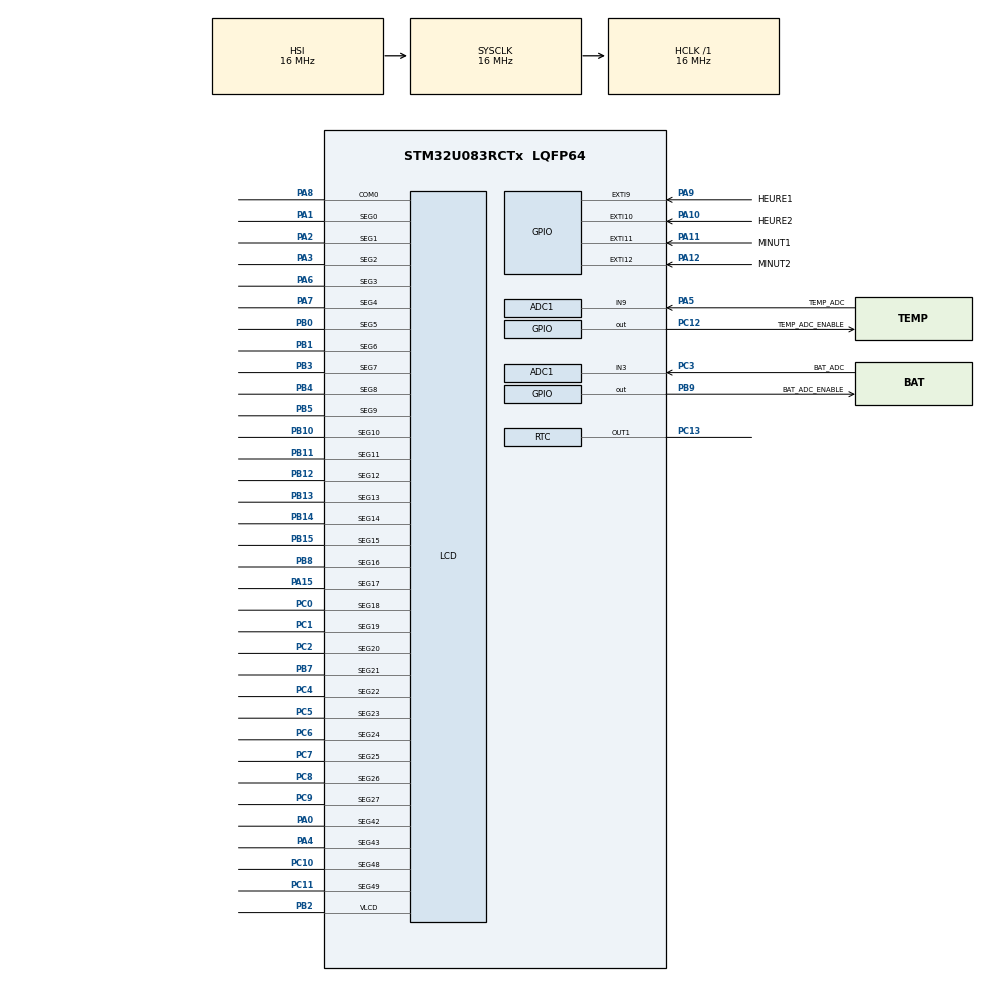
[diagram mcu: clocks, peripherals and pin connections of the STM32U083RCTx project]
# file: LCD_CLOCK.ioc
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ADC1.Channel-0\#ChannelRegularConversion=ADC_CHANNEL_9
ADC1.Channel-1\#ChannelRegularConversion=ADC_CHANNEL_3
ADC1.ClockPrescaler=ADC_CLOCK_SYNC_PCLK_DIV4
ADC1.ContinuousConvMode=DISABLE
ADC1.DiscontinuousConvMode=DISABLE
ADC1.EOCSelection=ADC_EOC_SINGLE_CONV
ADC1.NbrOfConversion=2
ADC1.NbrOfConversionFlag=1
ADC1.Rank-0\#ChannelRegularConversion=1
ADC1.Rank-1\#ChannelRegularConversion=2
ADC1.RankArg-0\#ChannelRegularConversion=ADC_REGULAR_RANK_1
ADC1.RankArg-1\#ChannelRegularConversion=ADC_REGULAR_RANK_2
ADC1.SamplingTime-0\#ChannelRegularConversion=ADC_SAMPLINGTIME_COMMON_1
ADC1.SamplingTime-1\#ChannelRegularConversion=ADC_SAMPLINGTIME_COMMON_1
ADC1.SamplingTimeCommon1=ADC_SAMPLETIME_160CYCLES_5
ADC1.SamplingTimeCommon2=ADC_SAMPLETIME_12CYCLES_5
ADC1.SelectedChannel=ADC_CHANNEL_3|ADC_CHANNEL_9
ADC1.master=1
Dma.ADC1.0.Direction=DMA_PERIPH_TO_MEMORY
Dma.ADC1.0.EventEnable=DISABLE
Dma.ADC1.0.Instance=DMA1_Channel1
Dma.ADC1.0.MemDataAlignment=DMA_MDATAALIGN_HALFWORD
Dma.ADC1.0.MemInc=DMA_MINC_ENABLE
Dma.ADC1.0.Mode=DMA_NORMAL
Dma.ADC1.0.PeriphDataAlignment=DMA_PDATAALIGN_HALFWORD
Dma.ADC1.0.PeriphInc=DMA_PINC_DISABLE
Dma.ADC1.0.Polarity=HAL_DMAMUX_REQ_GEN_RISING
Dma.ADC1.0.Priority=DMA_PRIORITY_LOW
Dma.ADC1.0.RequestNumber=1
Dma.ADC1.0.SignalID=NONE
Dma.ADC1.0.SyncEnable=DISABLE
Dma.ADC1.0.SyncPolarity=HAL_DMAMUX_SYNC_NO_EVENT
Dma.ADC1.0.SyncRequestNumber=1
Dma.ADC1.0.SyncSignalID=NONE
Dma.Request0=ADC1
LCD.Bias=LCD_BIAS_1_2
LCD.Contrast=LCD_CONTRASTLEVEL_3
LPTIM1.ClockPrescaler=LPTIM_PRESCALER_DIV128
LPTIM1.Period=15300
LPTIM1.RepetitionCounter=0
LPTIM1.UpdateMode=LPTIM_UPDATE_ENDOFPERIOD
LPTIM2.ClockPrescaler=LPTIM_PRESCALER_DIV128
LPTIM2.Period=65535
LPTIM2.RepetitionCounter=215
LPTIM2.UpdateMode=LPTIM_UPDATE_ENDOFPERIOD
Mcu.Family=STM32U0
Mcu.Name=STM32U083RCTx
Mcu.Package=LQFP64
NVIC.ADC_COMP1_2_IRQn=true\:0\:0\:false\:false\:true\:true\:true\:true
NVIC.DMA1_Channel1_IRQn=true\:0\:0\:false\:false\:true\:false\:true\:true
NVIC.EXTI4_15_IRQn=true\:0\:0\:false\:false\:true\:true\:true\:true
NVIC.PriorityGroup=NVIC_PRIORITYGROUP_2
NVIC.RTC_TAMP_IRQn=true\:2\:0\:true\:false\:true\:true\:true\:true
NVIC.TIM6_DAC_LPTIM1_IRQn=true\:1\:0\:true\:false\:true\:true\:true\:true
NVIC.TIM7_LPTIM2_IRQn=true\:1\:0\:true\:false\:true\:true\:true\:true
PA0.Mode=SEG42
PA0.Signal=LCD_SEG42
PA1.Mode=SEG0
PA1.Signal=LCD_SEG0
PA10.GPIO_Label=HEURE2
PA10.GPIO_ModeDefaultEXTI=GPIO_MODE_IT_FALLING
PA10.GPIO_PuPd=GPIO_PULLUP
PA10.Signal=GPXTI10
PA11\ [PA9].GPIO_Label=MINUT1
PA11\ [PA9].GPIO_ModeDefaultEXTI=GPIO_MODE_IT_FALLING
PA11\ [PA9].GPIO_PuPd=GPIO_PULLUP
PA11\ [PA9].Signal=GPXTI11
PA12\ [PA10].GPIO_Label=MINUT2
PA12\ [PA10].GPIO_ModeDefaultEXTI=GPIO_MODE_IT_FALLING
PA12\ [PA10].GPIO_PuPd=GPIO_PULLUP
PA12\ [PA10].Signal=GPXTI12
PA15.Mode=SEG17
PA15.Signal=LCD_SEG17
PA2.Mode=SEG1
PA2.Signal=LCD_SEG1
PA3.Mode=SEG2
PA3.Signal=LCD_SEG2
PA4.Mode=SEG43
PA4.Signal=LCD_SEG43
PA5.GPIO_Label=TEMP_ADC
PA5.Mode=IN9
PA5.Signal=ADC1_IN9
PA6.Mode=SEG3
PA6.Signal=LCD_SEG3
PA7.Mode=SEG4
PA7.Signal=LCD_SEG4
PA8.Mode=Static
PA8.Signal=LCD_COM0
PA9.GPIO_Label=HEURE1
PA9.GPIO_ModeDefaultEXTI=GPIO_MODE_IT_FALLING
PA9.GPIO_PuPd=GPIO_PULLUP
PA9.Signal=GPXTI9
PB0.Mode=SEG5
PB0.Signal=LCD_SEG5
PB1.Mode=SEG6
PB1.Signal=LCD_SEG6
PB10.Mode=SEG10
PB10.Signal=LCD_SEG10
PB11.Mode=SEG11
PB11.Signal=LCD_SEG11
PB12.Mode=SEG12
PB12.Signal=LCD_SEG12
PB13.Mode=SEG13
PB13.Signal=LCD_SEG13
PB14.Mode=SEG14
PB14.Signal=LCD_SEG14
PB15.Mode=SEG15
PB15.Signal=LCD_SEG15
PB2.Mode=Static
PB2.Signal=LCD_VLCD
PB3.Mode=SEG7
PB3.Signal=LCD_SEG7
PB4.Mode=SEG8
PB4.Signal=LCD_SEG8
PB5.Mode=SEG9
PB5.Signal=LCD_SEG9
PB7.Mode=SEG21
PB7.Signal=LCD_SEG21
PB8.Mode=SEG16
PB8.Signal=LCD_SEG16
PB9.GPIO_Label=BAT_ADC_ENABLE
PB9.Signal=GPIO_Output
PC0.Mode=SEG18
PC0.Signal=LCD_SEG18
PC1.Mode=SEG19
PC1.Signal=LCD_SEG19
PC10.Mode=SEG48
PC10.Signal=LCD_SEG48
PC11.Mode=SEG49
PC11.Signal=LCD_SEG49
PC12.GPIO_Label=TEMP_ADC_ENABLE
PC12.Signal=GPIO_Output
PC13.Mode=Calibration_1Hz
PC13.Signal=RTC_OUT1
PC14-OSC32_IN.Mode=LSE-External-Oscillator
PC14-OSC32_IN.Signal=RCC_OSC32_IN
PC15-OSC32_OUT.Mode=LSE-External-Oscillator
PC15-OSC32_OUT.Signal=RCC_OSC32_OUT
PC2.Mode=SEG20
PC2.Signal=LCD_SEG20
PC3.GPIO_Label=BAT_ADC
PC3.Mode=IN3
PC3.Signal=ADC1_IN3
PC4.Mode=SEG22
PC4.Signal=LCD_SEG22
PC5.Mode=SEG23
PC5.Signal=LCD_SEG23
PC6.Mode=SEG24
PC6.Signal=LCD_SEG24
PC7.Mode=SEG25
PC7.Signal=LCD_SEG25
PC8.Mode=SEG26
PC8.Signal=LCD_SEG26
PC9.Mode=SEG27
PC9.Signal=LCD_SEG27
ProjectManager.HeapSize=0x200
ProjectManager.StackSize=0x400
ProjectManager.TargetToolchain=STM32CubeIDE
RCC.AHBFreq_Value=16000000
RCC.CortexFreq_Value=16000000
RCC.EnableCSSLSE=true
RCC.HCLKFreq_Value=16000000
RCC.HSE_VALUE=4000000
RCC.HSI48_VALUE=48000000
RCC.HSI_VALUE=16000000
RCC.LPTIM1CLockSelection=RCC_LPTIM1CLKSOURCE_LSE
RCC.LPTIM2CLockSelection=RCC_LPTIM2CLKSOURCE_LSE
RCC.MSI_VALUE=4000000
RCC.RTCClockSelection=RCC_RTCCLKSOURCE_LSE
RCC.SYSCLKFreq_VALUE=16000000
RCC.VCOOutputFreq_Value=64000000
RTC.BinMode=RTC_BINARY_NONE
RTC.WakeUpClock-WakeUp=RTC_WAKEUPCLOCK_CK_SPRE_16BITS
VP_LPTIM1_VS_LPTIM_counterModeInternalClock.Mode=Counts__internal_clock_event_00
VP_LPTIM2_VS_LPTIM_counterModeInternalClock.Mode=Counts__internal_clock_event_00
VP_PWR_VS_SECSignals.Mode=Security/Privilege
VP_RTC_VS_RTC_Activate.Mode=RTC_Enabled
VP_RTC_VS_RTC_WakeUp_intern.Mode=WakeUp
board=custom

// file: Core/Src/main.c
/* USER CODE BEGIN Header */
/**
  ******************************************************************************
  * @file           : main.c
  * @brief          : Main program body
  ******************************************************************************
  * @attention
  *
  * Copyright (c) 2026 STMicroelectronics.
  * All rights reserved.
  *
  * This software is licensed under terms that can be found in the LICENSE file
  * in the root directory of this software component.
  * If no LICENSE file comes with this software, it is provided AS-IS.
  *
  ******************************************************************************
  */
/* USER CODE END Header */
#include "main.h"

/* USER CODE BEGIN Includes */
#include "math.h"
#include "LCD_4DIGIT.h"
#include <stdio.h>
/* USER CODE END Includes */

/* USER CODE BEGIN PD */

//variable for TT7-10KC3-11 thermistor
#define R0_NTC 10000.0f
#define T0_NTC 298.15f
#define BETA_NTC 3977.0f
#define R_SERIE 9990.0f
/* USER CODE END PD */

ADC_HandleTypeDef hadc1;
DMA_HandleTypeDef hdma_adc1;

LCD_HandleTypeDef hlcd;

LPTIM_HandleTypeDef hlptim1;
LPTIM_HandleTypeDef hlptim2;

RTC_HandleTypeDef hrtc;

/* USER CODE BEGIN PV */
volatile Flag system_flag = {0};
State system_state = START;
uint16_t temp_value;
uint16_t bat_value;
uint8_t sleep_time = 0;
volatile uint8_t StopMode_Activated = 0;
uint32_t start;

volatile uint16_t adc_dma_buffer[2];

RTC_TimeTypeDef Time = {0};
RTC_DateTypeDef Date = {0};
/* USER CODE END PV */

void SystemClock_Config(void);
static void MX_GPIO_Init(void);
static void MX_DMA_Init(void);
static void MX_ADC1_Init(void);
static void MX_LCD_Init(void);
static void MX_RTC_Init(void);
static void MX_LPTIM1_Init(void);
static void MX_LPTIM2_Init(void);

/* USER CODE BEGIN 0 */
void mini_sprintf(int n, char *s, uint8_t width, char pad)
{

	s[width-1] = '\0';

    for (int8_t i = width - 2; i >= 0; i--) {
        // 2. Fill digits using the absolute value
        if (n > 0 || (i == width - 2 && n == 0)) {
            s[i] = (n % 10) + '0';
            n /= 10;
        }
        // 4. Fill remaining space with padding
        else {
            s[i] = pad;
        }
    }
}

State switch_state(Flag sys_flag)
{
	State state = START;

	if(sys_flag.need_calibration > 400) state = CALIBRATION;
	else if(sys_flag.adc_update)  state = ADC_MEASUREMENT;
	else if(sys_flag.adc_ready)  state = ADC_READ;
	else if(sys_flag.wait_adc) state = WAIT_FOR_ADC;
	else if(sys_flag.bat_update)  state = PRINT_BAT;
	else if(sys_flag.time_update) state = PRINT_TIME;
	else if(sys_flag.temp_update) state = PRINT_TEMP;
	else state = SLEEP_MODE;

	return state;
}

uint8_t Read_ADC(uint16_t *temp_val, uint16_t *bat_val)
{
	float temp_celsius = 0;
	int ADC_temp_value = 0;
	float R_ADC = 0;

	int ADC_bat_value = 0;

	HAL_GPIO_WritePin(BAT_ADC_ENABLE_GPIO_Port, BAT_ADC_ENABLE_Pin, RESET);
	HAL_GPIO_WritePin(TEMP_ADC_ENABLE_GPIO_Port, TEMP_ADC_ENABLE_Pin, RESET);

	ADC_temp_value = adc_dma_buffer[0];
	ADC_bat_value = adc_dma_buffer[1];

	if(ADC_temp_value < 1058) //temp < 0°C
	{
		*temp_val = 0;
	}
	else
	{
		R_ADC = R_SERIE*((4095.0f/(float)ADC_temp_value) - 1.0f);

		float steinhart = logf(R_ADC / R0_NTC) / BETA_NTC;
		steinhart += 1.0f / T0_NTC;
		temp_celsius = (1.0f / steinhart) - 273.15f;
		*temp_val = (uint16_t)(temp_celsius * 10.0f);
	}

	*bat_val = (uint16_t)(660.0*(float)ADC_bat_value/4096.0);

	return 0;
}

uint8_t Print_temp(uint16_t temp_val)
{
	char temp_txt[5] = "   *";

	mini_sprintf(temp_val, temp_txt, sizeof(temp_txt), ' ');

	for (uint8_t i = 0; i < 3; i++) {
		temp_txt[i] = temp_txt[i + 1];
	}

	temp_txt[3] = '*';
	LCD_WriteDigit(temp_txt,0b0010);

	return 0;
}

uint8_t Print_time(uint8_t hour, uint8_t minute)
{
	char time_txt[5] = "0000";
	char minute_txt[3] = "00";

	mini_sprintf(minute, minute_txt, sizeof(minute_txt), '0');
	mini_sprintf(hour, time_txt, sizeof(time_txt), '0');

	for (uint8_t i = 0; i < 2; i++) {
		time_txt[i] = time_txt[i + 2];
	}

	time_txt[2] = minute_txt[0];
	time_txt[3] = minute_txt[1];

	LCD_WriteDigit(time_txt,0b1000);

	return 0;
}

/* USER CODE END 0 */

int main(void)
{

  /* MCU Configuration--------------------------------------------------------*/

  /* Reset of all peripherals, Initializes the Flash interface and the Systick. */
  HAL_Init();

  /* Configure the system clock */
  SystemClock_Config();

  /* Initialize all configured peripherals */
  MX_GPIO_Init();
  MX_DMA_Init();
  MX_ADC1_Init();
  MX_LCD_Init();
  MX_RTC_Init();
  MX_LPTIM1_Init();
  MX_LPTIM2_Init();
  /* USER CODE BEGIN 2 */

  HAL_LCD_Clear(&hlcd);

  Time.Hours = 0;
  Time.Minutes = 0;
  Time.Seconds = 0;
  HAL_RTC_SetTime(&hrtc, &Time, RTC_FORMAT_BIN);

  system_flag.adc_update = 1;
  system_flag.need_calibration = 401;
  system_flag.time_update = 1;
//  HAL_RCCEx_PeriphCLKConfig();

  HAL_LPTIM_Counter_Start_IT(&hlptim1);
  HAL_LPTIM_Counter_Start_IT(&hlptim2);

  /* USER CODE END 2 */

  /* Infinite loop */
  /* USER CODE BEGIN WHILE */
  while (1)
  {
	  switch (system_state)
	  {
	  case START:

		  system_state = switch_state(system_flag);
		  break;

	  case CALIBRATION:

		  HAL_ADCEx_Calibration_Start(&hadc1);
		  system_flag.need_calibration = 0;

		  system_state = switch_state(system_flag);
		  break;

	  case ADC_READ:

		  Read_ADC(&temp_value, &bat_value);

		  system_flag.adc_ready = 0;
		  system_flag.wait_adc = 0;

		  if(bat_value < 340)
		  {
			  system_flag.low_battery = 1;
		  }

		  system_state = switch_state(system_flag);
		  break;

	  case ADC_MEASUREMENT:

		  HAL_GPIO_WritePin(TEMP_ADC_ENABLE_GPIO_Port, TEMP_ADC_ENABLE_Pin, SET);
		  HAL_GPIO_WritePin(BAT_ADC_ENABLE_GPIO_Port, BAT_ADC_ENABLE_Pin, SET);

		  start = HAL_GetTick();

		  while ((HAL_GetTick() - start) < 10);

		  HAL_ADC_Start_DMA(&hadc1, (uint32_t*)adc_dma_buffer, 2);

		  system_flag.adc_update = 0;
		  system_flag.wait_adc = 1;

		  system_state = switch_state(system_flag);
		  break;

	  case WAIT_FOR_ADC:

		  system_flag.wait_adc = 1;

		  system_state = switch_state(system_flag);
		  break;

	  case PRINT_TIME:

		  system_flag.time_update = 0;

		  Print_time(Time.Hours, Time.Minutes);

		  sleep_time = 5;

		  system_state = switch_state(system_flag);
		  break;

	  case PRINT_TEMP:

		  system_flag.temp_update = 0;

		  Print_temp(temp_value);

		  sleep_time = 3;

		  system_state = switch_state(system_flag);
		  break;

	  case PRINT_BAT:

		  system_flag.bat_update = 0;

		  LCD_WriteDigit("batt", 0);

		  if(bat_value > 344)
		  {
			  system_flag.low_battery = 0;
		  }

		  sleep_time = 20;

		  system_state = switch_state(system_flag);
		  break;

	  case SLEEP_MODE:

		  if(sleep_time > 1)
		  {
			  HAL_RTCEx_SetWakeUpTimer_IT(&hrtc, sleep_time-1, RTC_WAKEUPCLOCK_CK_SPRE_16BITS, 0);
			  StopMode_Activated = 1;
			  HAL_SuspendTick();
			  HAL_PWREx_EnterSTOP2Mode(PWR_SLEEPENTRY_WFI);

			  HAL_RTCEx_DeactivateWakeUpTimer(&hrtc);
		  }

		  HAL_RTC_GetTime(&hrtc, &Time, RTC_FORMAT_BIN);
		  HAL_RTC_GetDate(&hrtc, &Date, RTC_FORMAT_BIN);

		  if(system_flag.low_battery) system_flag.bat_update = 1;
		  else if(sleep_time == 5) system_flag.temp_update = 1;
		  else if(sleep_time == 3) system_flag.time_update = 1;

		  system_state = switch_state(system_flag);
		  break;

	  default:
		  system_state = START;
		  break;
	  }
    /* USER CODE END WHILE */

  }
}

void SystemClock_Config(void)
{
  RCC_OscInitTypeDef RCC_OscInitStruct = {0};
  RCC_ClkInitTypeDef RCC_ClkInitStruct = {0};

  /** Configure the main internal regulator output voltage
  */
  HAL_PWREx_ControlVoltageScaling(PWR_REGULATOR_VOLTAGE_SCALE2);

  /** Configure LSE Drive Capability
  */
  HAL_PWR_EnableBkUpAccess();
  __HAL_RCC_LSEDRIVE_CONFIG(RCC_LSEDRIVE_LOW);

  /** Initializes the RCC Oscillators according to the specified parameters
  * in the RCC_OscInitTypeDef structure.
  */
  RCC_OscInitStruct.OscillatorType = RCC_OSCILLATORTYPE_HSI|RCC_OSCILLATORTYPE_LSE;
  RCC_OscInitStruct.LSEState = RCC_LSE_ON;
  RCC_OscInitStruct.HSIState = RCC_HSI_ON;
  RCC_OscInitStruct.HSICalibrationValue = RCC_HSICALIBRATION_DEFAULT;
  RCC_OscInitStruct.PLL.PLLState = RCC_PLL_NONE;
  if (HAL_RCC_OscConfig(&RCC_OscInitStruct) != HAL_OK)
  {
    Error_Handler();
  }

  /** Initializes the CPU, AHB and APB buses clocks
  */
  RCC_ClkInitStruct.ClockType = RCC_CLOCKTYPE_HCLK|RCC_CLOCKTYPE_SYSCLK
                              |RCC_CLOCKTYPE_PCLK1;
  RCC_ClkInitStruct.SYSCLKSource = RCC_SYSCLKSOURCE_HSI;
  RCC_ClkInitStruct.AHBCLKDivider = RCC_SYSCLK_DIV1;
  RCC_ClkInitStruct.APB1CLKDivider = RCC_HCLK_DIV1;

  if (HAL_RCC_ClockConfig(&RCC_ClkInitStruct, FLASH_LATENCY_1) != HAL_OK)
  {
    Error_Handler();
  }
}

static void MX_ADC1_Init(void)
{

  ADC_ChannelConfTypeDef sConfig = {0};

  /** Configure the global features of the ADC (Clock, Resolution, Data Alignment and number of conversion)
  */
  hadc1.Instance = ADC1;
  hadc1.Init.ClockPrescaler = ADC_CLOCK_SYNC_PCLK_DIV4;
  hadc1.Init.Resolution = ADC_RESOLUTION_12B;
  hadc1.Init.DataAlign = ADC_DATAALIGN_RIGHT;
  hadc1.Init.ScanConvMode = ADC_SCAN_ENABLE;
  hadc1.Init.EOCSelection = ADC_EOC_SINGLE_CONV;
  hadc1.Init.LowPowerAutoWait = DISABLE;
  hadc1.Init.LowPowerAutoPowerOff = DISABLE;
  hadc1.Init.ContinuousConvMode = DISABLE;
  hadc1.Init.NbrOfConversion = 2;
  hadc1.Init.DiscontinuousConvMode = DISABLE;
  hadc1.Init.ExternalTrigConv = ADC_SOFTWARE_START;
  hadc1.Init.ExternalTrigConvEdge = ADC_EXTERNALTRIGCONVEDGE_NONE;
  hadc1.Init.DMAContinuousRequests = DISABLE;
  hadc1.Init.Overrun = ADC_OVR_DATA_PRESERVED;
  hadc1.Init.SamplingTimeCommon1 = ADC_SAMPLETIME_160CYCLES_5;
  hadc1.Init.SamplingTimeCommon2 = ADC_SAMPLETIME_12CYCLES_5;
  hadc1.Init.OversamplingMode = DISABLE;
  hadc1.Init.TriggerFrequencyMode = ADC_TRIGGER_FREQ_HIGH;
  if (HAL_ADC_Init(&hadc1) != HAL_OK)
  {
    Error_Handler();
  }

  /** Configure Regular Channel
  */
  sConfig.Channel = ADC_CHANNEL_9;
  sConfig.Rank = ADC_REGULAR_RANK_1;
  sConfig.SamplingTime = ADC_SAMPLINGTIME_COMMON_1;
  if (HAL_ADC_ConfigChannel(&hadc1, &sConfig) != HAL_OK)
  {
    Error_Handler();
  }

  /** Configure Regular Channel
  */
  sConfig.Channel = ADC_CHANNEL_3;
  sConfig.Rank = ADC_REGULAR_RANK_2;
  if (HAL_ADC_ConfigChannel(&hadc1, &sConfig) != HAL_OK)
  {
    Error_Handler();
  }

}

static void MX_LCD_Init(void)
{

  hlcd.Instance = LCD;
  hlcd.Init.Prescaler = LCD_PRESCALER_1;
  hlcd.Init.Divider = LCD_DIVIDER_16;
  hlcd.Init.Duty = LCD_DUTY_STATIC;
  hlcd.Init.Bias = LCD_BIAS_1_2;
  hlcd.Init.VoltageSource = LCD_VOLTAGESOURCE_INTERNAL;
  hlcd.Init.Contrast = LCD_CONTRASTLEVEL_3;
  hlcd.Init.DeadTime = LCD_DEADTIME_0;
  hlcd.Init.PulseOnDuration = LCD_PULSEONDURATION_0;
  hlcd.Init.BlinkMode = LCD_BLINKMODE_OFF;
  hlcd.Init.BlinkFrequency = LCD_BLINKFREQUENCY_DIV8;
  hlcd.Init.MuxSegment = LCD_MUXSEGMENT_DISABLE;
  if (HAL_LCD_Init(&hlcd) != HAL_OK)
  {
    Error_Handler();
  }

}

static void MX_LPTIM1_Init(void)
{

  hlptim1.Instance = LPTIM1;
  hlptim1.Init.Clock.Source = LPTIM_CLOCKSOURCE_APBCLOCK_LPOSC;
  hlptim1.Init.Clock.Prescaler = LPTIM_PRESCALER_DIV128;
  hlptim1.Init.Trigger.Source = LPTIM_TRIGSOURCE_SOFTWARE;
  hlptim1.Init.Period = 15300;
  hlptim1.Init.UpdateMode = LPTIM_UPDATE_ENDOFPERIOD;
  hlptim1.Init.CounterSource = LPTIM_COUNTERSOURCE_INTERNAL;
  hlptim1.Init.Input1Source = LPTIM_INPUT1SOURCE_GPIO;
  hlptim1.Init.Input2Source = LPTIM_INPUT2SOURCE_GPIO;
  hlptim1.Init.RepetitionCounter = 0;
  if (HAL_LPTIM_Init(&hlptim1) != HAL_OK)
  {
    Error_Handler();
  }

}

static void MX_LPTIM2_Init(void)
{

  hlptim2.Instance = LPTIM2;
  hlptim2.Init.Clock.Source = LPTIM_CLOCKSOURCE_APBCLOCK_LPOSC;
  hlptim2.Init.Clock.Prescaler = LPTIM_PRESCALER_DIV128;
  hlptim2.Init.Trigger.Source = LPTIM_TRIGSOURCE_SOFTWARE;
  hlptim2.Init.Period = 65535;
  hlptim2.Init.UpdateMode = LPTIM_UPDATE_ENDOFPERIOD;
  hlptim2.Init.CounterSource = LPTIM_COUNTERSOURCE_INTERNAL;
  hlptim2.Init.Input1Source = LPTIM_INPUT1SOURCE_GPIO;
  hlptim2.Init.RepetitionCounter = 215;
  if (HAL_LPTIM_Init(&hlptim2) != HAL_OK)
  {
    Error_Handler();
  }

}

static void MX_RTC_Init(void)
{

  /** Initialize RTC Only
  */
  hrtc.Instance = RTC;
  hrtc.Init.HourFormat = RTC_HOURFORMAT_24;
  hrtc.Init.AsynchPrediv = 127;
  hrtc.Init.SynchPrediv = 255;
  hrtc.Init.OutPut = RTC_OUTPUT_DISABLE;
  hrtc.Init.OutPutRemap = RTC_OUTPUT_REMAP_NONE;
  hrtc.Init.OutPutPolarity = RTC_OUTPUT_POLARITY_HIGH;
  hrtc.Init.OutPutType = RTC_OUTPUT_TYPE_OPENDRAIN;
  hrtc.Init.OutPutPullUp = RTC_OUTPUT_PULLUP_NONE;
  hrtc.Init.BinMode = RTC_BINARY_NONE;
  if (HAL_RTC_Init(&hrtc) != HAL_OK)
  {
    Error_Handler();
  }

  /** Enable the WakeUp
  */
  if (HAL_RTCEx_SetWakeUpTimer_IT(&hrtc, 0, RTC_WAKEUPCLOCK_CK_SPRE_16BITS, 0) != HAL_OK)
  {
    Error_Handler();
  }

  /** Enable Calibration
  */
  if (HAL_RTCEx_SetCalibrationOutPut(&hrtc, RTC_CALIBOUTPUT_1HZ) != HAL_OK)
  {
    Error_Handler();
  }

}

static void MX_DMA_Init(void)
{

  /* DMA controller clock enable */
  __HAL_RCC_DMA1_CLK_ENABLE();

  /* DMA interrupt init */
  /* DMA1_Channel1_IRQn interrupt configuration */
  HAL_NVIC_SetPriority(DMA1_Channel1_IRQn, 0, 0);
  HAL_NVIC_EnableIRQ(DMA1_Channel1_IRQn);

}

static void MX_GPIO_Init(void)
{
  GPIO_InitTypeDef GPIO_InitStruct = {0};

  /* GPIO Ports Clock Enable */
  __HAL_RCC_GPIOC_CLK_ENABLE();
  __HAL_RCC_GPIOA_CLK_ENABLE();
  __HAL_RCC_GPIOB_CLK_ENABLE();

  /*Configure GPIO pin Output Level */
  HAL_GPIO_WritePin(TEMP_ADC_ENABLE_GPIO_Port, TEMP_ADC_ENABLE_Pin, GPIO_PIN_RESET);

  /*Configure GPIO pin Output Level */
  HAL_GPIO_WritePin(BAT_ADC_ENABLE_GPIO_Port, BAT_ADC_ENABLE_Pin, GPIO_PIN_RESET);

  /*Configure GPIO pins : HEURE1_Pin HEURE2_Pin MINUT1_Pin MINUT2_Pin */
  GPIO_InitStruct.Pin = HEURE1_Pin|HEURE2_Pin|MINUT1_Pin|MINUT2_Pin;
  GPIO_InitStruct.Mode = GPIO_MODE_IT_FALLING;
  GPIO_InitStruct.Pull = GPIO_PULLUP;
  HAL_GPIO_Init(GPIOA, &GPIO_InitStruct);

  /*Configure GPIO pin : TEMP_ADC_ENABLE_Pin */
  GPIO_InitStruct.Pin = TEMP_ADC_ENABLE_Pin;
  GPIO_InitStruct.Mode = GPIO_MODE_OUTPUT_PP;
  GPIO_InitStruct.Pull = GPIO_NOPULL;
  GPIO_InitStruct.Speed = GPIO_SPEED_FREQ_LOW;
  HAL_GPIO_Init(TEMP_ADC_ENABLE_GPIO_Port, &GPIO_InitStruct);

  /*Configure GPIO pin : BAT_ADC_ENABLE_Pin */
  GPIO_InitStruct.Pin = BAT_ADC_ENABLE_Pin;
  GPIO_InitStruct.Mode = GPIO_MODE_OUTPUT_PP;
  GPIO_InitStruct.Pull = GPIO_NOPULL;
  GPIO_InitStruct.Speed = GPIO_SPEED_FREQ_LOW;
  HAL_GPIO_Init(BAT_ADC_ENABLE_GPIO_Port, &GPIO_InitStruct);

  /* EXTI interrupt init*/
  HAL_NVIC_SetPriority(EXTI4_15_IRQn, 0, 0);
  HAL_NVIC_EnableIRQ(EXTI4_15_IRQn);

}

/* USER CODE BEGIN 4 */
/**
  * @brief  EXTI line detection callback.
  * @param  GPIO_Pin Specifies the port pin connected to corresponding EXTI line.
  * @retval None
  */
void HAL_GPIO_EXTI_Falling_Callback(uint16_t GPIO_Pin)
{

  if(StopMode_Activated == 1)
  {
	  SystemClock_Config();
	  HAL_ResumeTick();
	  StopMode_Activated = 0;
  }

  HAL_RTC_GetTime(&hrtc, &Time, RTC_FORMAT_BIN);
  HAL_RTC_GetDate(&hrtc, &Date, RTC_FORMAT_BIN);

  if(GPIO_Pin == MINUT2_Pin)
  {
	  Time.Minutes = (Time.Minutes + 1) % 60;
  }
  else if(GPIO_Pin == MINUT1_Pin)
  {
	  Time.Minutes = (Time.Minutes + 10) % 60;
  }
  else if(GPIO_Pin == HEURE2_Pin)
  {
	  Time.Hours = (Time.Hours + 1) % 24;
  }
  else if(GPIO_Pin == HEURE1_Pin)
  {
	  Time.Hours = (Time.Hours + 10) % 24;
  }
  else
  {
	  __NOP();
  }

  HAL_RTC_SetTime(&hrtc, &Time, RTC_FORMAT_BIN);
  system_flag.time_update = 1;
  sleep_time = 3;
}

void HAL_RTCEx_WakeUpTimerEventCallback(RTC_HandleTypeDef *hrtc)
{
	if(StopMode_Activated == 1)
	{
	  SystemClock_Config();
	  HAL_ResumeTick();
	  StopMode_Activated = 0;
	}

}

void HAL_LPTIM_AutoReloadMatchCallback(LPTIM_HandleTypeDef *hlptim)
{
	if(StopMode_Activated == 1)
	{
	  SystemClock_Config();
	  HAL_ResumeTick();
	  StopMode_Activated = 0;
	}

	if (hlptim->Instance == LPTIM2) system_flag.need_calibration++;
	else if (hlptim->Instance == LPTIM1) system_flag.adc_update = 1;
	else __NOP();
}

void HAL_ADC_ConvCpltCallback(ADC_HandleTypeDef *hadc)
{
    if (hadc->Instance == ADC1)
    {
        system_flag.adc_ready = 1;
    }
}
/* USER CODE END 4 */

void Error_Handler(void)
{
  __disable_irq();
  while (1)
  {
  }
}
